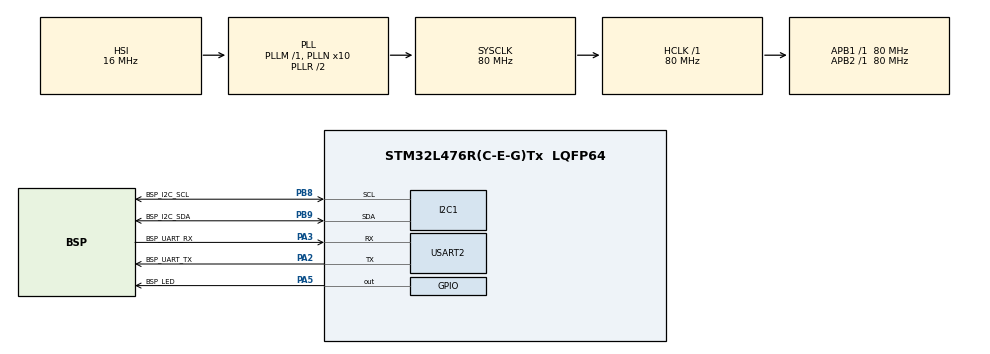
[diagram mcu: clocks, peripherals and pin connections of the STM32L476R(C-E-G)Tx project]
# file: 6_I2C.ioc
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I2C1.Timing=0x10909CEC
Mcu.Family=STM32L4
Mcu.Name=STM32L476R(C-E-G)Tx
Mcu.Package=LQFP64
NVIC.PriorityGroup=NVIC_PRIORITYGROUP_4
PA2.GPIO_Label=BSP_UART_TX
PA2.Mode=Asynchronous
PA2.Signal=USART2_TX
PA3.GPIO_Label=BSP_UART_RX
PA3.Mode=Asynchronous
PA3.Signal=USART2_RX
PA5.GPIO_Label=BSP_LED
PA5.Signal=GPIO_Output
PB8.GPIO_Label=BSP_I2C_SCL
PB8.Mode=I2C
PB8.Signal=I2C1_SCL
PB9.GPIO_Label=BSP_I2C_SDA
PB9.Mode=I2C
PB9.Signal=I2C1_SDA
ProjectManager.HeapSize=0x200
ProjectManager.StackSize=0x400
ProjectManager.TargetToolchain=STM32CubeIDE
RCC.ADCFreq_Value=64000000
RCC.AHBFreq_Value=80000000
RCC.APB1Freq_Value=80000000
RCC.APB1TimFreq_Value=80000000
RCC.APB2Freq_Value=80000000
RCC.APB2TimFreq_Value=80000000
RCC.CortexFreq_Value=80000000
RCC.HCLKFreq_Value=80000000
RCC.HSE_VALUE=8000000
RCC.HSI_VALUE=16000000
RCC.MSI_VALUE=4000000
RCC.PLLN=10
RCC.PLLSourceVirtual=RCC_PLLSOURCE_HSI
RCC.PREFETCH_ENABLE=1
RCC.SYSCLKFreq_VALUE=80000000
RCC.SYSCLKSource=RCC_SYSCLKSOURCE_PLLCLK
RCC.USBFreq_Value=64000000
RCC.VCOOutputFreq_Value=160000000
USART2.VirtualMode-Asynchronous=VM_ASYNC
board=NUCLEO-L476RG

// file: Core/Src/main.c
/* USER CODE BEGIN Header */
/**
  ******************************************************************************
  * @file           : main.c
  * @brief          : Main program body
  ******************************************************************************
  * @attention
  *
  * Copyright (c) 2024 STMicroelectronics.
  * All rights reserved.
  *
  * This software is licensed under terms that can be found in the LICENSE file
  * in the root directory of this software component.
  * If no LICENSE file comes with this software, it is provided AS-IS.
  *
  ******************************************************************************
  */
/* USER CODE END Header */
#include "main.h"

/* USER CODE BEGIN Includes */
#include <stdio.h>
/* USER CODE END Includes */

I2C_HandleTypeDef hi2c1;

UART_HandleTypeDef huart2;

/* USER CODE BEGIN PV */

char Buffer[25] = {0};
uint8_t Space[] = " - ";
uint8_t StartMSG[] = "Starting I2C Scanning: \r\n";
uint8_t EndMSG[] = "Done! \r\n\r\n";

/* USER CODE END PV */

void SystemClock_Config(void);
static void MX_GPIO_Init(void);
static void MX_USART2_UART_Init(void);
static void MX_I2C1_Init(void);
/* USER CODE BEGIN PFP */

void I2C_Scan(void);

/* USER CODE END PFP */

int main(void)
{

  /* MCU Configuration--------------------------------------------------------*/

  /* Reset of all peripherals, Initializes the Flash interface and the Systick. */
  HAL_Init();

  /* Configure the system clock */
  SystemClock_Config();

  /* Initialize all configured peripherals */
  MX_GPIO_Init();
  MX_USART2_UART_Init();
  MX_I2C1_Init();
  /* USER CODE BEGIN 2 */

  I2C_Scan();

  /* USER CODE END 2 */

  /* Infinite loop */
  while (1)
  {

  }
}

void SystemClock_Config(void)
{
  RCC_OscInitTypeDef RCC_OscInitStruct = {0};
  RCC_ClkInitTypeDef RCC_ClkInitStruct = {0};

  /** Configure the main internal regulator output voltage
  */
  if (HAL_PWREx_ControlVoltageScaling(PWR_REGULATOR_VOLTAGE_SCALE1) != HAL_OK)
  {
    Error_Handler();
  }

  /** Initializes the RCC Oscillators according to the specified parameters
  * in the RCC_OscInitTypeDef structure.
  */
  RCC_OscInitStruct.OscillatorType = RCC_OSCILLATORTYPE_HSI;
  RCC_OscInitStruct.HSIState = RCC_HSI_ON;
  RCC_OscInitStruct.HSICalibrationValue = RCC_HSICALIBRATION_DEFAULT;
  RCC_OscInitStruct.PLL.PLLState = RCC_PLL_ON;
  RCC_OscInitStruct.PLL.PLLSource = RCC_PLLSOURCE_HSI;
  RCC_OscInitStruct.PLL.PLLM = 1;
  RCC_OscInitStruct.PLL.PLLN = 10;
  RCC_OscInitStruct.PLL.PLLP = RCC_PLLP_DIV7;
  RCC_OscInitStruct.PLL.PLLQ = RCC_PLLQ_DIV2;
  RCC_OscInitStruct.PLL.PLLR = RCC_PLLR_DIV2;
  if (HAL_RCC_OscConfig(&RCC_OscInitStruct) != HAL_OK)
  {
    Error_Handler();
  }

  /** Initializes the CPU, AHB and APB buses clocks
  */
  RCC_ClkInitStruct.ClockType = RCC_CLOCKTYPE_HCLK|RCC_CLOCKTYPE_SYSCLK
                              |RCC_CLOCKTYPE_PCLK1|RCC_CLOCKTYPE_PCLK2;
  RCC_ClkInitStruct.SYSCLKSource = RCC_SYSCLKSOURCE_PLLCLK;
  RCC_ClkInitStruct.AHBCLKDivider = RCC_SYSCLK_DIV1;
  RCC_ClkInitStruct.APB1CLKDivider = RCC_HCLK_DIV1;
  RCC_ClkInitStruct.APB2CLKDivider = RCC_HCLK_DIV1;

  if (HAL_RCC_ClockConfig(&RCC_ClkInitStruct, FLASH_LATENCY_4) != HAL_OK)
  {
    Error_Handler();
  }
}

static void MX_I2C1_Init(void)
{

  hi2c1.Instance = I2C1;
  hi2c1.Init.Timing = 0x10909CEC;
  hi2c1.Init.OwnAddress1 = 0;
  hi2c1.Init.AddressingMode = I2C_ADDRESSINGMODE_7BIT;
  hi2c1.Init.DualAddressMode = I2C_DUALADDRESS_DISABLE;
  hi2c1.Init.OwnAddress2 = 0;
  hi2c1.Init.OwnAddress2Masks = I2C_OA2_NOMASK;
  hi2c1.Init.GeneralCallMode = I2C_GENERALCALL_DISABLE;
  hi2c1.Init.NoStretchMode = I2C_NOSTRETCH_DISABLE;
  if (HAL_I2C_Init(&hi2c1) != HAL_OK)
  {
    Error_Handler();
  }

  /** Configure Analogue filter
  */
  if (HAL_I2CEx_ConfigAnalogFilter(&hi2c1, I2C_ANALOGFILTER_ENABLE) != HAL_OK)
  {
    Error_Handler();
  }

  /** Configure Digital filter
  */
  if (HAL_I2CEx_ConfigDigitalFilter(&hi2c1, 0) != HAL_OK)
  {
    Error_Handler();
  }

}

static void MX_USART2_UART_Init(void)
{

  huart2.Instance = USART2;
  huart2.Init.BaudRate = 115200;
  huart2.Init.WordLength = UART_WORDLENGTH_8B;
  huart2.Init.StopBits = UART_STOPBITS_1;
  huart2.Init.Parity = UART_PARITY_NONE;
  huart2.Init.Mode = UART_MODE_TX_RX;
  huart2.Init.HwFlowCtl = UART_HWCONTROL_NONE;
  huart2.Init.OverSampling = UART_OVERSAMPLING_16;
  huart2.Init.OneBitSampling = UART_ONE_BIT_SAMPLE_DISABLE;
  huart2.AdvancedInit.AdvFeatureInit = UART_ADVFEATURE_NO_INIT;
  if (HAL_UART_Init(&huart2) != HAL_OK)
  {
    Error_Handler();
  }

}

static void MX_GPIO_Init(void)
{
  GPIO_InitTypeDef GPIO_InitStruct = {0};

  /* GPIO Ports Clock Enable */
  __HAL_RCC_GPIOA_CLK_ENABLE();
  __HAL_RCC_GPIOB_CLK_ENABLE();

  /*Configure GPIO pin Output Level */
  HAL_GPIO_WritePin(BSP_LED_GPIO_Port, BSP_LED_Pin, GPIO_PIN_RESET);

  /*Configure GPIO pin : BSP_LED_Pin */
  GPIO_InitStruct.Pin = BSP_LED_Pin;
  GPIO_InitStruct.Mode = GPIO_MODE_OUTPUT_PP;
  GPIO_InitStruct.Pull = GPIO_NOPULL;
  GPIO_InitStruct.Speed = GPIO_SPEED_FREQ_LOW;
  HAL_GPIO_Init(BSP_LED_GPIO_Port, &GPIO_InitStruct);

}

/* USER CODE BEGIN 4 */

void I2C_Scan(void)
{
    uint8_t ret;
    HAL_UART_Transmit(&huart2, StartMSG, sizeof(StartMSG), 10000);

    for (int i = 0; i < 128; i++) {
        ret = HAL_I2C_IsDeviceReady(&hi2c1, (uint16_t)(i << 1), 3, 5);
        if (ret != HAL_OK) { /* No ACK Received At That Address */
            HAL_UART_Transmit(&huart2, Space, sizeof(Space), 10000);
        } else {
        	sprintf((char*)Buffer, "0x%X", i);

            HAL_UART_Transmit(&huart2, (uint8_t *)Buffer, sizeof(Buffer), 10000);
        }
    }

    HAL_UART_Transmit(&huart2, EndMSG, sizeof(EndMSG), 10000);
}

/* USER CODE END 4 */

void Error_Handler(void)
{
  __disable_irq();
  while (1)
  {
  }
}
